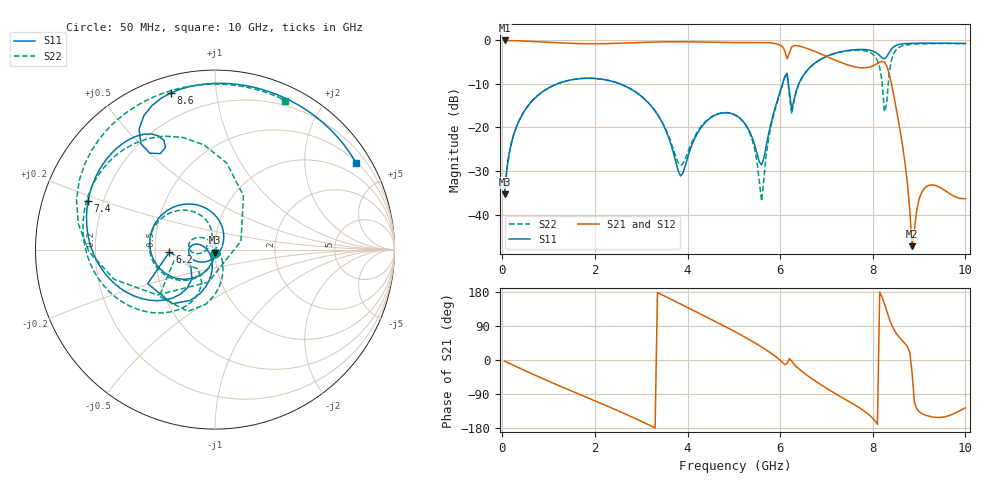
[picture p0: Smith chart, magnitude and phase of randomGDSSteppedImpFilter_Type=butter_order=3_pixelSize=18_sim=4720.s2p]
! freq	dB(S11)	phase(S11)	dB(S12)	phase(S12)
!  dB(S21)	phase(S21)	dB(S22)	phase(S22)
!S-par simulation data
#  GHz  S  DB  R 50
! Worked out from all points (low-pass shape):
!   200 points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, 50 MHz to 10 GHz, reference 50 ohm
!   highest |S21| = -0.01 dB at 50 MHz (marker M1); lowest = -47.3 dB at 8.85 GHz (marker M2)
!   |S21| within 3 dB of the highest: start of sweep to 6.118 GHz; 6.197 GHz to 6.858 GHz (661.1 MHz wide, 10.1 % of centre)
!   lowest |S11| = -35.3 dB at 50 MHz (marker M3), VSWR 1.03, Z = 49.9 - j1.7 ohm
!   |S11| at or under -10 dB: start of sweep to 1.182 GHz; 2.547 GHz to 6.05 GHz (3.504 GHz wide, 81.5 % of centre); 6.178 GHz to 6.401 GHz (222.5 MHz wide, 3.54 % of centre)
!   |S22| runs from -36.9 to -0.7 dB; largest |S21 - S12| = 0
!   S11 on the Smith chart (normalised r, x): 50 MHz: 1.00, -0.03; 6.2 GHz: 0.59, -0.02; 7.4 GHz: 0.14, +0.18; 8.6 GHz: 0.08, +0.75; 10 GHz: 0.53, +3.45
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0.05  -35.34 -92.7  -0.01 -2.9  -0.01 -2.9  -35.34 -92.6
0.2  -23.43 -102.0  -0.04 -11.6  -0.04 -11.6  -23.43 -101.4
0.5  -15.85 -119.7  -0.15 -28.6  -0.15 -28.6  -15.85 -118.4
1.75  -8.72 171.9  -0.75 -94.9  -0.75 -94.9  -8.72 177.4
3.4  -17.88 71.1  -0.32 174.9  -0.32 174.9  -17.77 101.7
3.85  -31.12 -30.1  -0.29 147.7  -0.29 147.7  -28.74 146.9
4.35  -19.25 -140.5  -0.39 117.0  -0.39 117.0  -19.05 -168.9
5.05  -17.26 172.8  -0.48 73.0  -0.48 73.0  -17.27 155.0
5.4  -22.43 162.4  -0.46 49.1  -0.46 49.1  -22.98 126.7
5.6  -28.62 -145.6  -0.47 34.4  -0.47 34.4  -36.89 31.0
5.85  -17.04 -98.5  -0.64 13.9  -0.64 13.9  -17.51 -70.7
6.1  -8.28 -128.5  -2.33 -12.1  -2.33 -12.1  -8.50 -113.6
6.2  -11.88 -176.8  -2.92 4.0  -2.92 4.0  -12.59 -165.2
6.7  -5.63 -150.6  -2.31 -50.5  -2.31 -50.5  -5.68 -138.5
7.4  -2.41 158.9  -5.41 -103.5  -5.41 -103.5  -2.49 168.2
8.05  -2.68 118.7  -5.62 -161.2  -5.62 -161.2  -3.73 106.1
8.25  -4.22 119.7  -4.98 149.1  -4.98 149.1  -16.38 17.8
8.35  -2.83 124.9  -7.47 111.3  -7.47 111.3  -7.78 -141.7
8.6  -0.85 105.9  -21.34 56.1  -21.34 56.1  -1.42 152.8
8.85  -0.67 90.0  -47.26 -35.1  -47.26 -35.1  -0.88 128.2
9.15  -0.63 73.9  -33.60 -146.1  -33.60 -146.1  -0.74 108.7
10  -0.70 31.7  -36.35 -126.2  -36.35 -126.2  -0.74 64.7
